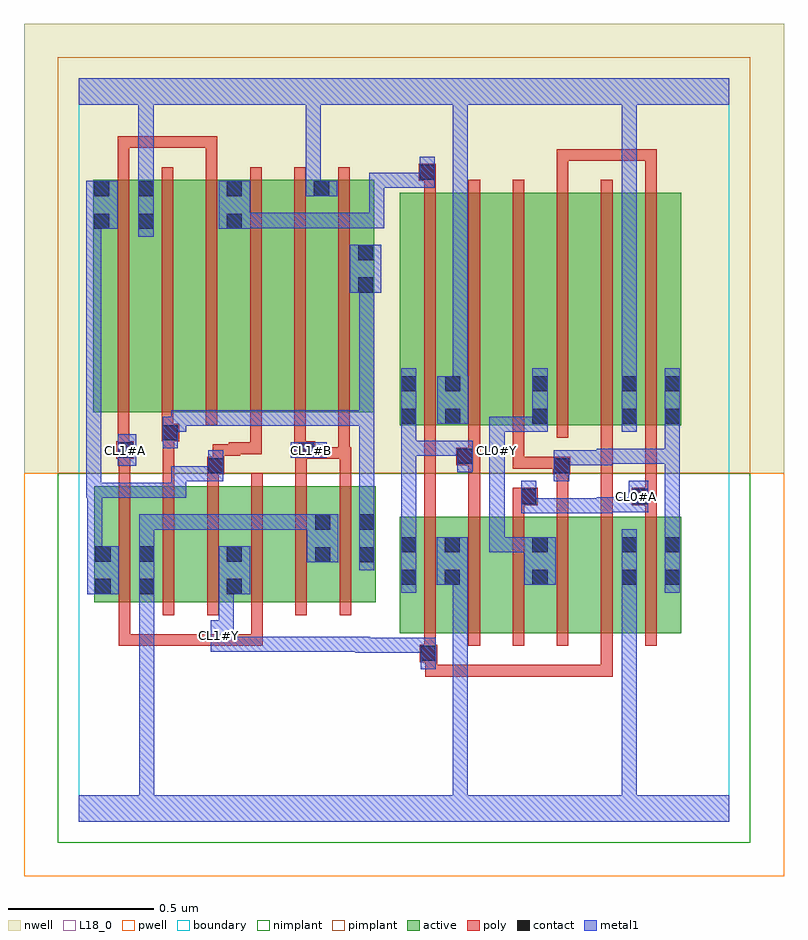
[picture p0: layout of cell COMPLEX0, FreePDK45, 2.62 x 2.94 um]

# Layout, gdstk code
import gdstk
lib = gdstk.Library(unit=1e-6, precision=1e-09)
def R(c, l, rs):  # rectangles x0, y0, x1, y1
    for r in rs: c.add(gdstk.rectangle(r[:2], r[2:], *l))
def A(c, l, x, y, w, h, nx, ny, dx, dy):  # array of equal rectangles
    R(c, l, [(x+i*dx, y+j*dy, x+i*dx+w, y+j*dy+h) for i in range(nx) for j in range(ny)])
active = (1, 0)
pwell = (2, 0)
nwell = (3, 0)
nimplant = (4, 0)
pimplant = (5, 0)
poly = (9, 0)
contact = (10, 0)
metal1 = (11, 0)
L18_0 = (18, 0)
boundary = (235, 0)

complex0 = lib.new_cell('COMPLEX0')
R(complex0, active, [(1.106,0.65,1.166,1.05), (1.106,0.65,1.316,1.05), (1.256,0.65,1.316,1.05), (1.256,0.65,1.438,1.05), (1.438,0.65,1.618,1.05), (1.558,0.65,1.742,1.05), (1.558,0.65,1.618,1.008), (1.742,0.65,1.926,1.05), (1.866,0.65,2.074,1.05), (1.866,0.65,1.926,1.012), (2.014,0.65,2.074,1.05), (0.054,0.756,0.114,1.156), (0.054,0.756,0.264,1.156), (0.204,0.756,0.264,1.156), (0.204,0.756,0.386,1.156), (0.386,0.756,0.566,1.156), (0.506,0.756,0.566,1.156), (0.506,0.756,0.69,1.156), (0.69,0.756,0.87,1.156), (0.81,0.756,0.87,1.156), (0.81,0.756,1.022,1.156), (0.962,0.756,1.022,1.156), (1.106,1.366,1.166,2.044), (1.106,1.366,1.318,2.166), (1.258,1.366,1.318,2.044), (1.258,1.366,1.438,2.166), (1.438,1.366,1.618,2.166), (1.558,1.366,1.618,2.044), (1.558,1.366,1.742,2.166), (1.742,1.366,1.926,2.166), (1.866,1.366,1.926,2.044), (1.866,1.366,2.074,2.166), (2.014,1.366,2.074,2.044), (0.05,1.41,0.262,2.21), (0.05,1.41,0.11,2.21), (0.202,1.41,0.382,2.21), (0.382,1.41,0.566,2.21), (0.506,1.41,0.686,2.21), (0.686,1.41,0.866,2.21), (0.806,1.41,1.018,2.21), (0.958,1.41,1.018,2.044), (0.506,1.47,0.566,2.21), (0.202,1.65,0.262,2.21), (0.806,1.686,0.866,2.21)])
R(complex0, pwell, [(-0.188,-0.188,2.428,1.2)])
R(complex0, nwell, [(-0.188,1.2,2.428,2.748)])
R(complex0, nimplant, [(-0.072,-0.072,2.312,1.2)])
R(complex0, pimplant, [(-0.072,1.2,2.312,2.632)])
A(complex0, poly, 1.388, 0.5, 0.04, 0.04, 3, 1, 0.106, 0)
A(complex0, poly, 1.19, 0.606, 0.04, 0.488, 6, 1, 0.152, 0)
A(complex0, poly, 0.138, 0.712, 0.04, 0.488, 6, 1, 0.152, 0)
A(complex0, poly, 1.19, 1.054, 0.04, 0.076, 3, 1, 0.304, 0)
A(complex0, poly, 1.19, 1.322, 0.04, 0.888, 6, 1, 0.152, 0)
A(complex0, poly, 0.134, 1.366, 0.04, 0.888, 6, 1, 0.152, 0)
R(complex0, poly, [(1.194,0.5,1.428,0.54), (1.194,0.5,1.234,0.59), (1.388,0.5,1.428,0.54), (1.388,0.5,1.428,0.54), (1.388,0.5,1.534,0.54), (1.494,0.5,1.64,0.54), (1.6,0.5,1.64,0.54), (1.6,0.5,1.64,0.54), (1.6,0.5,1.838,0.54), (1.798,0.5,1.838,0.646), (1.798,0.5,1.838,0.54), (1.798,0.5,1.838,0.54), (1.798,0.5,1.838,0.54), (1.174,0.55,1.234,0.61), (1.194,0.55,1.234,0.59), (1.19,0.57,1.23,0.646), (0.138,0.606,0.178,0.752), (0.138,0.606,0.178,0.646), (0.138,0.606,0.178,0.646), (0.138,0.606,0.178,0.646), (0.138,0.606,0.33,0.646), (0.29,0.606,0.33,0.646), (0.29,0.606,0.33,0.646), (0.29,0.606,0.33,0.646), (0.29,0.606,0.436,0.646), (0.396,0.606,0.436,0.646), (0.396,0.606,0.634,0.646), (0.594,0.606,0.634,0.752), (0.594,0.606,0.634,0.646), (0.594,0.606,0.634,0.646), (0.594,0.606,0.634,0.646), (1.342,1.054,1.382,1.268), (1.646,1.054,1.686,1.236), (1.95,1.054,1.99,1.13), (1.19,1.09,1.23,1.13), (1.19,1.09,1.23,1.13), (1.19,1.09,1.23,1.13), (1.19,1.09,1.23,1.362), (1.494,1.09,1.58,1.15), (1.798,1.09,1.838,1.13), (1.798,1.09,1.838,1.13), (1.798,1.09,1.838,1.13), (1.798,1.09,1.838,1.362), (1.904,1.09,1.99,1.15), (1.95,1.11,1.99,1.15), (1.95,1.11,1.99,1.15), (1.95,1.11,1.99,1.362), (0.138,1.16,0.178,1.29), (0.29,1.16,0.33,1.35), (0.442,1.16,0.482,1.236), (0.746,1.16,0.786,1.29), (0.898,1.16,0.938,1.29), (0.442,1.196,0.502,1.256), (1.632,1.196,1.692,1.256), (1.646,1.196,1.686,1.236), (1.646,1.196,1.686,1.236), (0.462,1.216,0.502,1.3), (1.494,1.216,1.534,1.362), (1.494,1.216,1.534,1.256), (1.494,1.216,1.672,1.256), (1.632,1.216,1.672,1.256), (1.632,1.216,1.672,1.256), (1.3,1.228,1.382,1.288), (1.342,1.228,1.382,1.268), (1.342,1.228,1.382,1.268), (1.342,1.248,1.382,1.362), (0.13,1.25,0.19,1.31), (0.138,1.25,0.178,1.29), (0.138,1.25,0.178,1.29), (0.746,1.25,0.814,1.31), (0.774,1.25,0.934,1.29), (0.894,1.25,0.934,1.29), (0.894,1.25,0.934,1.29), (0.894,1.25,0.934,1.29), (0.894,1.25,0.934,1.29), (0.894,1.25,0.934,1.406), (0.894,1.25,0.938,1.29), (0.462,1.26,0.502,1.3), (0.462,1.26,0.556,1.3), (0.516,1.26,0.556,1.306), (0.516,1.266,0.63,1.306), (0.59,1.266,0.63,1.306), (0.59,1.266,0.63,1.406), (0.134,1.27,0.174,1.406), (0.742,1.27,0.786,1.31), (0.742,1.27,0.782,1.406), (0.746,1.27,0.786,1.31), (0.286,1.31,0.346,1.37), (0.29,1.31,0.33,1.35), (0.29,1.31,0.33,1.35), (0.286,1.33,0.326,1.406), (1.19,2.17,1.23,2.246), (1.646,2.17,1.686,2.316), (1.95,2.17,1.99,2.316), (1.17,2.206,1.23,2.266), (0.134,2.214,0.174,2.36), (0.438,2.214,0.478,2.36), (1.646,2.276,1.686,2.316), (1.646,2.276,1.792,2.316), (1.752,2.276,1.792,2.316), (1.752,2.276,1.792,2.316), (1.752,2.276,1.792,2.316), (1.752,2.276,1.99,2.316), (1.95,2.276,1.99,2.316), (1.95,2.276,1.99,2.316), (1.95,2.276,1.99,2.316), (0.134,2.32,0.174,2.36), (0.134,2.32,0.174,2.36), (0.134,2.32,0.174,2.36), (0.134,2.32,0.33,2.36), (0.29,2.32,0.33,2.36), (0.29,2.32,0.33,2.36), (0.29,2.32,0.33,2.36), (0.29,2.32,0.478,2.36), (0.438,2.32,0.478,2.36)])
R(complex0, contact, [(1.178,0.554,1.23,0.606), (0.058,0.784,0.11,0.836), (0.208,0.784,0.26,0.836), (0.51,0.784,0.562,0.836), (1.11,0.816,1.162,0.868), (1.26,0.816,1.312,0.868), (1.562,0.816,1.614,0.868), (1.87,0.816,1.922,0.868), (2.018,0.816,2.07,0.868), (0.814,0.894,0.866,0.946), (0.966,0.894,1.018,0.946), (0.058,0.896,0.11,0.948), (0.208,0.896,0.26,0.948), (0.51,0.896,0.562,0.948), (1.11,0.928,1.162,0.98), (1.26,0.928,1.312,0.98), (1.562,0.928,1.614,0.98), (1.87,0.928,1.922,0.98), (2.018,0.928,2.07,0.98), (0.814,1.006,0.866,1.058), (0.966,1.006,1.018,1.058), (1.524,1.094,1.576,1.146), (1.908,1.094,1.96,1.146), (0.446,1.2,0.498,1.252), (1.636,1.2,1.688,1.252), (1.304,1.232,1.356,1.284), (0.134,1.254,0.186,1.306), (0.758,1.254,0.81,1.306), (0.29,1.314,0.342,1.366), (1.11,1.37,1.162,1.422), (1.262,1.37,1.314,1.422), (1.562,1.37,1.614,1.422), (1.87,1.37,1.922,1.422), (2.018,1.37,2.07,1.422), (1.11,1.482,1.162,1.534), (1.262,1.482,1.314,1.534), (1.562,1.482,1.614,1.534), (1.87,1.482,1.922,1.534), (2.018,1.482,2.07,1.534), (0.962,1.822,1.014,1.874), (0.962,1.934,1.014,1.986), (0.054,2.042,0.106,2.094), (0.206,2.042,0.258,2.094), (0.51,2.042,0.562,2.094), (0.054,2.154,0.106,2.206), (0.206,2.154,0.258,2.206), (0.51,2.154,0.562,2.206), (0.81,2.154,0.862,2.206), (1.174,2.21,1.226,2.262)])
A(complex0, metal1, 0.208, 1.006, 0.052, 0.052, 3, 1, 0.11, 0)
A(complex0, metal1, 0.208, 1.006, 0.162, 0.052, 4, 1, 0.11, 0)
A(complex0, metal1, 0.428, 1.006, 0.052, 0.052, 3, 2, 0.11, 0.358)
A(complex0, metal1, 0.318, 1.364, 0.162, 0.052, 4, 1, 0.11, 0)
R(complex0, metal1, [(0,0,2.24,0.092), (0.208,0.04,0.26,0.092), (0.208,0.04,0.26,0.092), (0.208,0.04,0.26,0.092), (0.208,0.04,0.26,0.092), (0.208,0.04,0.26,0.092), (0.208,0.04,0.26,0.092), (0.208,0.04,0.26,0.092), (0.208,0.04,0.26,0.092), (0.208,0.04,0.26,0.808), (1.288,0.04,1.34,0.092), (1.288,0.04,1.34,0.092), (1.288,0.04,1.34,0.868), (1.87,0.04,1.922,0.092), (1.87,0.04,1.922,0.092), (1.87,0.04,1.922,0.092), (1.87,0.04,1.922,0.092), (1.87,0.04,1.922,0.092), (1.87,0.04,1.922,0.092), (1.87,0.04,1.922,0.092), (1.87,0.04,1.922,0.092), (1.87,0.04,1.922,0.84), (1.178,0.526,1.23,0.634), (0.952,0.582,1.004,0.638), (0.952,0.582,1.23,0.634), (0.454,0.586,0.534,0.694), (0.482,0.586,0.59,0.638), (0.538,0.586,0.59,0.638), (0.538,0.586,0.7,0.638), (0.648,0.586,0.7,0.638), (0.648,0.586,0.7,0.638), (0.648,0.586,0.7,0.638), (0.648,0.586,0.876,0.638), (0.824,0.586,0.876,0.638), (0.824,0.586,0.876,0.638), (0.824,0.586,0.876,0.638), (0.824,0.586,1.004,0.638), (0.952,0.586,1.004,0.638), (0.952,0.586,1.004,0.638), (0.482,0.642,0.534,0.836), (0.208,0.756,0.26,0.976), (0.208,0.756,0.26,0.808), (0.208,0.756,0.26,0.808), (0.208,0.756,0.26,0.808), (0.208,0.756,0.26,0.808), (0.03,0.784,0.138,0.948), (0.482,0.784,0.59,0.948), (1.11,0.788,1.162,1.008), (1.87,0.788,1.922,1.008), (1.87,0.788,1.922,0.84), (1.87,0.788,1.922,0.84), (1.87,0.788,1.922,0.84), (1.87,0.788,1.922,0.84), (2.018,0.788,2.07,1.008), (1.232,0.816,1.34,0.98), (1.288,0.816,1.34,0.868), (1.288,0.816,1.34,0.868), (1.288,0.816,1.34,0.868), (1.288,0.816,1.34,0.868), (1.288,0.816,1.34,0.868), (1.288,0.816,1.34,0.868), (1.288,0.816,1.34,0.868), (1.288,0.816,1.34,0.868), (1.288,0.816,1.34,0.868), (1.288,0.816,1.34,0.868), (1.534,0.816,1.642,0.98), (0.966,0.866,1.018,1.086), (0.786,0.894,0.894,1.058), (0.03,0.896,0.082,1.168), (0.208,0.924,0.26,1.058), (1.414,0.928,1.466,0.98), (1.414,0.928,1.466,0.98), (1.414,0.928,1.466,0.98), (1.414,0.928,1.586,0.98), (1.414,0.928,1.466,1.278), (1.11,0.956,1.162,1.312), (2.018,0.956,2.07,1.284), (0.208,1.006,0.26,1.058), (0.208,1.006,0.26,1.058), (0.208,1.006,0.26,1.058), (0.208,1.006,0.26,1.058), (0.208,1.006,0.26,1.058), (0.208,1.006,0.26,1.058), (0.428,1.006,0.48,1.058), (0.648,1.006,0.7,1.058), (0.648,1.006,0.7,1.058), (0.648,1.006,0.838,1.058), (0.966,1.034,1.018,1.416), (1.524,1.062,1.576,1.118), (1.524,1.062,1.726,1.114), (1.674,1.062,1.726,1.114), (1.674,1.062,1.726,1.114), (1.674,1.062,1.726,1.114), (1.674,1.062,1.836,1.114), (1.784,1.062,1.836,1.118), (1.524,1.066,1.576,1.118), (1.524,1.066,1.576,1.174), (1.784,1.066,1.946,1.118), (1.894,1.066,1.946,1.118), (1.894,1.066,1.946,1.118), (1.894,1.066,1.96,1.174), (0.026,1.116,0.078,1.168), (0.026,1.116,0.078,1.168), (0.026,1.116,0.078,2.094), (0.026,1.116,0.082,1.168), (0.03,1.116,0.082,1.168), (0.03,1.116,0.082,1.168), (0.03,1.116,0.202,1.168), (0.15,1.116,0.202,1.168), (0.15,1.116,0.37,1.168), (0.318,1.116,0.37,1.224), (0.318,1.172,0.37,1.224), (0.318,1.172,0.37,1.224), (0.318,1.172,0.498,1.224), (0.446,1.172,0.498,1.28), (1.636,1.172,1.688,1.28), (1.304,1.204,1.356,1.312), (0.134,1.226,0.198,1.334), (1.414,1.226,1.466,1.334), (1.636,1.228,1.688,1.28), (1.636,1.228,1.688,1.28), (1.636,1.228,1.836,1.28), (1.784,1.228,1.836,1.284), (1.784,1.232,1.836,1.284), (1.784,1.232,1.836,1.284), (1.784,1.232,2.07,1.284), (2.018,1.232,2.07,1.394), (2.018,1.232,2.07,1.284), (2.018,1.232,2.07,1.284), (2.018,1.232,2.07,1.284), (2.018,1.232,2.07,1.284), (2.018,1.232,2.07,1.284), (0.73,1.254,0.854,1.306), (1.11,1.26,1.162,1.312), (1.11,1.26,1.162,1.312), (1.11,1.26,1.162,1.312), (1.11,1.26,1.162,1.312), (1.11,1.26,1.162,1.312), (1.11,1.26,1.356,1.312), (1.11,1.26,1.162,1.394), (1.304,1.26,1.356,1.312), (1.304,1.26,1.356,1.312), (1.414,1.282,1.466,1.334), (1.414,1.282,1.466,1.334), (1.414,1.282,1.466,1.394), (0.29,1.286,0.342,1.394), (0.29,1.342,0.37,1.394), (0.318,1.342,0.37,1.416), (1.11,1.342,1.162,1.562), (1.414,1.342,1.466,1.394), (1.414,1.342,1.466,1.394), (1.414,1.342,1.466,1.394), (1.414,1.342,1.614,1.394), (1.562,1.342,1.614,1.562), (1.87,1.342,1.922,1.562), (2.018,1.342,2.07,1.562), (0.428,1.364,0.48,1.416), (0.428,1.364,0.48,1.416), (0.648,1.364,0.7,1.416), (0.648,1.364,0.7,1.416), (0.758,1.364,0.81,1.416), (0.758,1.364,0.81,1.416), (0.758,1.364,0.81,1.416), (0.758,1.364,1.018,1.416), (0.966,1.364,1.018,1.416), (0.966,1.364,1.018,1.416), (0.966,1.364,1.018,1.416), (0.966,1.364,1.018,1.874), (1.234,1.37,1.342,1.534), (1.288,1.482,1.34,2.52), (1.87,1.51,1.922,1.562), (1.87,1.51,1.922,1.562), (1.87,1.51,1.922,1.562), (1.87,1.51,1.922,1.562), (1.87,1.51,1.922,2.52), (0.934,1.822,1.042,1.986), (0.206,2.014,0.258,2.234), (0.026,2.042,0.134,2.206), (0.482,2.042,0.59,2.206), (0.538,2.044,0.59,2.096), (0.538,2.044,0.59,2.096), (0.538,2.044,0.7,2.096), (0.648,2.044,0.7,2.096), (0.648,2.044,0.7,2.096), (0.648,2.044,0.7,2.096), (0.648,2.044,0.876,2.096), (0.824,2.044,0.876,2.096), (0.824,2.044,0.876,2.096), (0.824,2.044,0.876,2.096), (0.824,2.044,1.052,2.096), (1,2.044,1.052,2.096), (1,2.044,1.052,2.096), (1,2.044,1.052,2.096), (1,2.044,1.052,2.234), (0.782,2.154,0.834,2.206), (0.782,2.154,0.834,2.206), (0.782,2.154,0.834,2.206), (0.782,2.154,0.834,2.206), (0.782,2.154,0.834,2.206), (0.782,2.154,0.834,2.206), (0.782,2.154,0.834,2.52), (0.782,2.154,0.89,2.206), (0.206,2.182,0.258,2.234), (0.206,2.182,0.258,2.234), (0.206,2.182,0.258,2.234), (0.206,2.182,0.258,2.234), (0.206,2.182,0.258,2.234), (0.206,2.182,0.258,2.234), (0.206,2.182,0.258,2.234), (0.206,2.182,0.258,2.234), (0.206,2.182,0.258,2.52), (1,2.182,1.052,2.234), (1,2.182,1.052,2.234), (1,2.182,1.052,2.234), (1,2.182,1.226,2.234), (1.174,2.182,1.226,2.29), (0,2.468,2.24,2.56), (0.782,2.468,0.834,2.52), (0.782,2.468,0.834,2.52), (1.288,2.468,1.34,2.52), (1.288,2.468,1.34,2.52), (1.288,2.468,1.34,2.52), (1.288,2.468,1.34,2.52), (1.288,2.468,1.34,2.52), (1.288,2.468,1.34,2.52), (1.288,2.468,1.34,2.52), (1.288,2.468,1.34,2.52), (1.87,2.468,1.922,2.52), (1.87,2.468,1.922,2.52), (1.87,2.468,1.922,2.52), (1.87,2.468,1.922,2.52)])
A(complex0, L18_0, 0.208, 1.006, 0.052, 0.052, 3, 1, 0.11, 0)
A(complex0, L18_0, 0.208, 1.006, 0.162, 0.052, 4, 1, 0.11, 0)
A(complex0, L18_0, 0.428, 1.006, 0.052, 0.052, 3, 1, 0.11, 0)
A(complex0, L18_0, 0.134, 1.254, 0.052, 0.052, 3, 1, 0.64, 0)
R(complex0, L18_0, [(0,0,2.24,0.092), (0.208,0.04,0.26,0.092), (0.208,0.04,0.26,0.092), (0.208,0.04,0.26,0.092), (0.208,0.04,0.26,0.092), (0.208,0.04,0.26,0.092), (0.208,0.04,0.26,0.092), (0.208,0.04,0.26,0.092), (0.208,0.04,0.26,0.092), (0.208,0.04,0.26,0.808), (1.288,0.04,1.34,0.092), (1.288,0.04,1.34,0.092), (1.288,0.04,1.34,0.868), (1.87,0.04,1.922,0.092), (1.87,0.04,1.922,0.092), (1.87,0.04,1.922,0.092), (1.87,0.04,1.922,0.092), (1.87,0.04,1.922,0.092), (1.87,0.04,1.922,0.092), (1.87,0.04,1.922,0.092), (1.87,0.04,1.922,0.092), (1.87,0.04,1.922,0.84), (1.178,0.526,1.23,0.634), (0.952,0.582,1.004,0.638), (0.952,0.582,1.23,0.634), (0.454,0.586,0.534,0.694), (0.482,0.586,0.59,0.638), (0.538,0.586,0.59,0.638), (0.538,0.586,0.7,0.638), (0.648,0.586,0.7,0.638), (0.648,0.586,0.7,0.638), (0.648,0.586,0.7,0.638), (0.648,0.586,0.876,0.638), (0.824,0.586,0.876,0.638), (0.824,0.586,0.876,0.638), (0.824,0.586,0.876,0.638), (0.824,0.586,1.004,0.638), (0.952,0.586,1.004,0.638), (0.952,0.586,1.004,0.638), (0.454,0.614,0.506,0.666), (0.482,0.642,0.534,0.836), (0.208,0.756,0.26,0.808), (0.208,0.756,0.26,0.808), (0.208,0.756,0.26,0.808), (0.208,0.756,0.26,0.808), (0.208,0.756,0.26,0.976), (0.482,0.784,0.59,0.948), (1.87,0.788,1.922,0.84), (1.87,0.788,1.922,0.84), (1.87,0.788,1.922,0.84), (1.87,0.788,1.922,0.84), (1.87,0.788,1.922,1.008), (1.232,0.816,1.34,0.98), (1.288,0.816,1.34,0.868), (1.288,0.816,1.34,0.868), (1.288,0.816,1.34,0.868), (1.288,0.816,1.34,0.868), (1.288,0.816,1.34,0.868), (1.288,0.816,1.34,0.868), (1.288,0.816,1.34,0.868), (1.288,0.816,1.34,0.868), (1.288,0.816,1.34,0.868), (1.288,0.816,1.34,0.868), (1.534,0.816,1.642,0.98), (0.786,0.894,0.894,1.058), (0.208,0.924,0.26,1.058), (1.414,0.928,1.466,0.98), (1.414,0.928,1.466,0.98), (1.414,0.928,1.466,0.98), (1.414,0.928,1.466,1.278), (1.414,0.928,1.586,0.98), (0.208,1.006,0.26,1.058), (0.208,1.006,0.26,1.058), (0.208,1.006,0.26,1.058), (0.208,1.006,0.26,1.058), (0.208,1.006,0.26,1.058), (0.208,1.006,0.26,1.058), (0.428,1.006,0.48,1.058), (0.648,1.006,0.7,1.058), (0.648,1.006,0.7,1.058), (0.648,1.006,0.838,1.058), (1.524,1.062,1.576,1.118), (1.524,1.062,1.726,1.114), (1.674,1.062,1.726,1.114), (1.674,1.062,1.726,1.114), (1.674,1.062,1.726,1.114), (1.674,1.062,1.836,1.114), (1.784,1.062,1.836,1.118), (1.524,1.066,1.576,1.118), (1.524,1.066,1.576,1.174), (1.784,1.066,1.946,1.118), (1.894,1.066,1.946,1.118), (1.894,1.066,1.946,1.118), (1.894,1.066,1.96,1.174), (1.894,1.094,1.946,1.146), (0.134,1.226,0.198,1.334), (1.414,1.226,1.466,1.334), (0.73,1.254,0.854,1.306), (1.414,1.282,1.466,1.334), (1.414,1.282,1.466,1.334), (1.414,1.282,1.466,1.394), (1.414,1.342,1.466,1.394), (1.414,1.342,1.466,1.394), (1.414,1.342,1.466,1.394), (1.414,1.342,1.614,1.394), (1.562,1.342,1.614,1.562), (1.87,1.342,1.922,1.562), (1.234,1.37,1.342,1.534), (1.288,1.482,1.34,2.52), (1.87,1.51,1.922,1.562), (1.87,1.51,1.922,1.562), (1.87,1.51,1.922,1.562), (1.87,1.51,1.922,1.562), (1.87,1.51,1.922,2.52), (0.206,2.014,0.258,2.234), (0.482,2.042,0.59,2.206), (0.538,2.044,0.59,2.096), (0.538,2.044,0.59,2.096), (0.538,2.044,0.7,2.096), (0.648,2.044,0.7,2.096), (0.648,2.044,0.7,2.096), (0.648,2.044,0.7,2.096), (0.648,2.044,0.876,2.096), (0.824,2.044,0.876,2.096), (0.824,2.044,0.876,2.096), (0.824,2.044,0.876,2.096), (0.824,2.044,1.052,2.096), (1,2.044,1.052,2.096), (1,2.044,1.052,2.096), (1,2.044,1.052,2.096), (1,2.044,1.052,2.234), (0.782,2.154,0.834,2.206), (0.782,2.154,0.834,2.206), (0.782,2.154,0.834,2.206), (0.782,2.154,0.834,2.206), (0.782,2.154,0.834,2.206), (0.782,2.154,0.834,2.206), (0.782,2.154,0.89,2.206), (0.782,2.154,0.834,2.52), (0.206,2.182,0.258,2.234), (0.206,2.182,0.258,2.234), (0.206,2.182,0.258,2.234), (0.206,2.182,0.258,2.234), (0.206,2.182,0.258,2.234), (0.206,2.182,0.258,2.234), (0.206,2.182,0.258,2.234), (0.206,2.182,0.258,2.234), (0.206,2.182,0.258,2.52), (1,2.182,1.052,2.234), (1,2.182,1.052,2.234), (1,2.182,1.052,2.234), (1,2.182,1.226,2.234), (1.174,2.182,1.226,2.29), (0,2.468,2.24,2.56), (0.782,2.468,0.834,2.52), (0.782,2.468,0.834,2.52), (1.288,2.468,1.34,2.52), (1.288,2.468,1.34,2.52), (1.288,2.468,1.34,2.52), (1.288,2.468,1.34,2.52), (1.288,2.468,1.34,2.52), (1.288,2.468,1.34,2.52), (1.288,2.468,1.34,2.52), (1.288,2.468,1.34,2.52), (1.87,2.468,1.922,2.52), (1.87,2.468,1.922,2.52), (1.87,2.468,1.922,2.52), (1.87,2.468,1.922,2.52)])
R(complex0, boundary, [(0,0,2.24,2.56)])
complex0.add(gdstk.Label('CL0#A', (1.92,1.12), layer=11, texttype=0))
complex0.add(gdstk.Label('CL0#Y', (1.44,1.28), layer=11, texttype=0))
complex0.add(gdstk.Label('CL1#A', (0.16,1.28), layer=11, texttype=0))
complex0.add(gdstk.Label('CL1#B', (0.8,1.28), layer=11, texttype=0))
complex0.add(gdstk.Label('CL1#Y', (0.48,0.64), layer=11, texttype=0))

lib.write_gds('COMPLEX0.gds')
